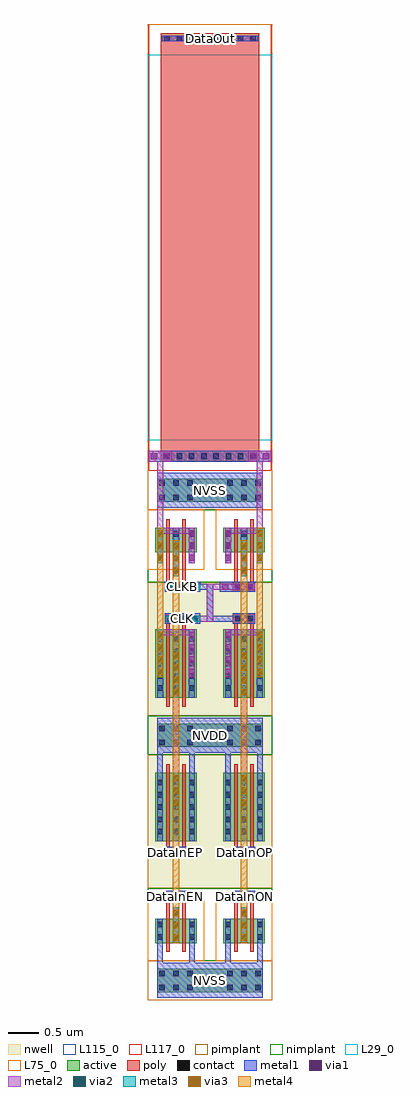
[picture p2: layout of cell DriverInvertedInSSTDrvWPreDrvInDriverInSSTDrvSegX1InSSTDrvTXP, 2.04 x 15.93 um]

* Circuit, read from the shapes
.subckt DriverInvertedInSSTDrvWPreDrvInDriverInSSTDrvSegX1InSSTDrvTXP CLK CLKB DataInEN DataInEP DataInON DataInOP DataOut NVDD NVSS
M1 n1 DataInEN NVSS NVSS nfet w=0.4u l=0.06u m=2
M2 n1 CLKB DataOut NVSS nfet w=0.4u l=0.06u m=2
M3 n2 DataInON NVSS NVSS nfet w=0.4u l=0.06u m=2
M4 n2 CLK DataOut NVSS nfet w=0.4u l=0.06u m=2
M5 n1 DataInEP NVDD NVDD pfet w=1.12u l=0.06u m=2
M6 n1 CLK DataOut NVDD pfet w=1.12u l=0.06u m=2
M7 n2 DataInOP NVDD NVDD pfet w=1.12u l=0.06u m=2
M8 n2 CLKB DataOut NVDD pfet w=1.12u l=0.06u m=2
.ends

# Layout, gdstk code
from math import pi, radians
import gdstk
lib = gdstk.Library(unit=1e-6, precision=1e-09)
def R(c, l, rs):  # rectangles x0, y0, x1, y1
    for r in rs: c.add(gdstk.rectangle(r[:2], r[2:], *l))
def A(c, l, x, y, w, h, nx, ny, dx, dy):  # array of equal rectangles
    R(c, l, [(x+i*dx, y+j*dy, x+i*dx+w, y+j*dy+h) for i in range(nx) for j in range(ny)])
nwell = (3, 0)
active = (6, 0)
poly = (17, 0)
pimplant = (25, 0)
nimplant = (26, 0)
L29_0 = (29, 0)
contact = (30, 0)
metal1 = (31, 0)
metal2 = (32, 0)
metal3 = (33, 0)
metal4 = (34, 0)
via1 = (51, 0)
via2 = (52, 0)
via3 = (53, 0)
L75_0 = (75, 0)
L115_0 = (115, 0)
L117_0 = (117, 0)

pmosinpnmossegmentleftin = lib.new_cell('PMOSInPNMOSSegmentLeftInDriverInvertedInSSTDrvWPreDrvInDriverInSSTDrvSegX1InSSTDrvTXP')
R(pmosinpnmossegmentleftin, active, [(-0.335,-0.56,0.335,0.56)])
R(pmosinpnmossegmentleftin, poly, [(-0.16,-0.7,-0.1,0.7), (0.1,-0.7,0.16,0.7)])
R(pmosinpnmossegmentleftin, pimplant, [(-0.465,-0.85,0.465,0.85)])
A(pmosinpnmossegmentleftin, contact, -0.305, -0.445, 0.09, 0.09, 3, 5, 0.26, 0.2)
A(pmosinpnmossegmentleftin, metal1, -0.305, -0.56, 0.09, 1.12, 3, 1, 0.26, 0)

nmosinpnmossegmentleftin = lib.new_cell('NMOSInPNMOSSegmentLeftInDriverInvertedInSSTDrvWPreDrvInDriverInSSTDrvSegX1InSSTDrvTXP')
R(nmosinpnmossegmentleftin, active, [(-0.335,-0.2,0.335,0.2)])
R(nmosinpnmossegmentleftin, poly, [(-0.16,-0.34,-0.1,0.34), (0.1,-0.34,0.16,0.34)])
R(nmosinpnmossegmentleftin, nimplant, [(-0.465,-0.49,0.465,0.49)])
A(nmosinpnmossegmentleftin, contact, -0.305, -0.145, 0.09, 0.09, 3, 2, 0.26, 0.2)
A(nmosinpnmossegmentleftin, metal1, -0.305, -0.2, 0.09, 0.4, 3, 1, 0.26, 0)
R(nmosinpnmossegmentleftin, L75_0, [(-0.465,-0.49,0.465,0.49)])

m1_nod_cdns_565693715657 = lib.new_cell('M1_NOD_CDNS_565693715657')
R(m1_nod_cdns_565693715657, active, [(-0.305,-0.19,0.305,0.19)])
R(m1_nod_cdns_565693715657, nimplant, [(-0.435,-0.32,0.435,0.32)])
A(m1_nod_cdns_565693715657, contact, -0.275, -0.16, 0.09, 0.09, 3, 2, 0.23, 0.23)
R(m1_nod_cdns_565693715657, metal1, [(-0.305,-0.285,0.305,0.285)])

m1_po_cdns_5656937156510 = lib.new_cell('M1_PO_CDNS_5656937156510')
R(m1_po_cdns_5656937156510, poly, [(-0.185,-0.085,0.185,0.085)])
R(m1_po_cdns_5656937156510, contact, [(-0.145,-0.045,-0.055,0.045), (0.055,-0.045,0.145,0.045)])
R(m1_po_cdns_5656937156510, metal1, [(-0.185,-0.085,0.185,0.085)])

m2_m1_cdns_565693715655 = lib.new_cell('M2_M1_CDNS_565693715655')
R(m2_m1_cdns_565693715655, metal1, [(-0.05,-0.29,0.05,0.29)])
R(m2_m1_cdns_565693715655, metal2, [(-0.05,-0.29,0.05,0.29)])
A(m2_m1_cdns_565693715655, via1, -0.05, -0.25, 0.1, 0.1, 1, 3, 0, 0.2)

m3_m2_cdns_565693715651 = lib.new_cell('M3_M2_CDNS_565693715651')
R(m3_m2_cdns_565693715651, metal2, [(-0.05,-0.29,0.05,0.29)])
R(m3_m2_cdns_565693715651, metal3, [(-0.05,-0.29,0.05,0.29)])
A(m3_m2_cdns_565693715651, via2, -0.05, -0.25, 0.1, 0.1, 1, 3, 0, 0.2)

m4_m3_cdns_565693715654 = lib.new_cell('M4_M3_CDNS_565693715654')
R(m4_m3_cdns_565693715654, metal3, [(-0.05,-0.29,0.05,0.29)])
R(m4_m3_cdns_565693715654, metal4, [(-0.05,-0.29,0.05,0.29)])
A(m4_m3_cdns_565693715654, via3, -0.05, -0.25, 0.1, 0.1, 1, 3, 0, 0.2)

m1_pod_cdns_565693715659 = lib.new_cell('M1_POD_CDNS_565693715659')
R(m1_pod_cdns_565693715659, active, [(-0.305,-0.19,0.305,0.19)])
R(m1_pod_cdns_565693715659, pimplant, [(-0.435,-0.32,0.435,0.32)])
A(m1_pod_cdns_565693715659, contact, -0.275, -0.16, 0.09, 0.09, 3, 2, 0.23, 0.23)
R(m1_pod_cdns_565693715659, metal1, [(-0.305,-0.285,0.305,0.285)])

pnmossegmentleftindriver = lib.new_cell('PNMOSSegmentLeftInDriverInvertedInSSTDrvWPreDrvInDriverInSSTDrvSegX1InSSTDrvTXP')
R(pnmossegmentleftindriver, nwell, [(-0.465,1.5,0.465,4.35)])
R(pnmossegmentleftindriver, poly, [(-0.16,1.29,0.16,1.46), (-0.16,2.01,0.16,2.18)])
R(pnmossegmentleftindriver, pimplant, [(-0.465,-0.32,0.465,0.32), (-0.465,1.5,0.465,3.68)])
R(pnmossegmentleftindriver, nimplant, [(-0.465,0.32,0.465,1.5), (-0.465,3.68,0.465,4.32)])
R(pnmossegmentleftindriver, metal1, [(-0.05,0.61,0.05,1.19), (-0.05,2.27,0.05,3.39)])
pnmossegmentleftindriver.add(gdstk.FlexPath([(-0.26,0.81),(-0.26,-0.285)], 0.09, ends="flush", simple_path=True, layer=31, datatype=0))  # metal1
pnmossegmentleftindriver.add(gdstk.FlexPath([(0.26,0.81),(0.26,-0.285)], 0.09, ends="flush", simple_path=True, layer=31, datatype=0))  # metal1
pnmossegmentleftindriver.add(gdstk.FlexPath([(-0.26,2.83),(-0.26,4.285)], 0.09, ends="flush", simple_path=True, layer=31, datatype=0))  # metal1
pnmossegmentleftindriver.add(gdstk.FlexPath([(0.26,2.83),(0.26,4.285)], 0.09, ends="flush", simple_path=True, layer=31, datatype=0))  # metal1
pnmossegmentleftindriver.add(gdstk.FlexPath([(-0.13,0.81),(-0.13,1.375)], 0.06, ends="flush", simple_path=True, layer=17, datatype=0))  # poly
pnmossegmentleftindriver.add(gdstk.FlexPath([(0.13,0.81),(0.13,1.375)], 0.06, ends="flush", simple_path=True, layer=17, datatype=0))  # poly
pnmossegmentleftindriver.add(gdstk.FlexPath([(-0.13,2.83),(-0.13,2.095)], 0.06, ends="flush", simple_path=True, layer=17, datatype=0))  # poly
pnmossegmentleftindriver.add(gdstk.FlexPath([(0.13,2.83),(0.13,2.095)], 0.06, ends="flush", simple_path=True, layer=17, datatype=0))  # poly
pnmossegmentleftindriver.add(gdstk.FlexPath([(-0.05,2.86),(0.05,2.86)], 0.1, ends="flush", simple_path=True, layer=33, datatype=0))  # metal3
pnmossegmentleftindriver.add(gdstk.FlexPath([(-0.05,1.14),(0.05,1.14)], 0.1, ends="flush", simple_path=True, layer=33, datatype=0))  # metal3
pnmossegmentleftindriver.add(gdstk.FlexPath([(0,0.81),(0,2.83)], 0.1, ends="flush", simple_path=True, layer=34, datatype=0))  # metal4
pnmossegmentleftindriver.add(gdstk.Reference(pmosinpnmossegmentleftin, (0,2.83)))
pnmossegmentleftindriver.add(gdstk.Reference(nmosinpnmossegmentleftin, (0,0.81)))
pnmossegmentleftindriver.add(gdstk.Reference(m1_nod_cdns_565693715657, (0,4)))
pnmossegmentleftindriver.add(gdstk.Reference(m1_po_cdns_5656937156510, (0,2.095)))
pnmossegmentleftindriver.add(gdstk.Reference(m1_po_cdns_5656937156510, (0,1.375)))
pnmossegmentleftindriver.add(gdstk.Reference(m2_m1_cdns_565693715655, (0,0.9)))
pnmossegmentleftindriver.add(gdstk.Reference(m2_m1_cdns_565693715655, (0,3.1)))
pnmossegmentleftindriver.add(gdstk.Reference(m3_m2_cdns_565693715651, (0,0.9)))
pnmossegmentleftindriver.add(gdstk.Reference(m3_m2_cdns_565693715651, (0,3.1)))
pnmossegmentleftindriver.add(gdstk.Reference(m4_m3_cdns_565693715654, (0,0.9)))
pnmossegmentleftindriver.add(gdstk.Reference(m4_m3_cdns_565693715654, (0,3.1)))
pnmossegmentleftindriver.add(gdstk.Reference(m1_pod_cdns_565693715659, (0,0)))

pmosinswrightinmuxindriv = lib.new_cell('PMOSInSWRightInMUXInDriverInvertedInSSTDrvWPreDrvInDriverInSSTDrvSegX1InSSTDrvTXP')
R(pmosinswrightinmuxindriv, active, [(-0.335,-0.56,0.335,0.56)])
R(pmosinswrightinmuxindriv, poly, [(-0.16,-0.7,-0.1,0.7), (0.1,-0.7,0.16,0.7)])
R(pmosinswrightinmuxindriv, pimplant, [(-0.465,-0.85,0.465,0.85)])
A(pmosinswrightinmuxindriv, contact, -0.305, -0.445, 0.09, 0.09, 3, 5, 0.26, 0.2)
A(pmosinswrightinmuxindriv, metal1, -0.305, -0.56, 0.09, 1.12, 3, 1, 0.26, 0)

nmosinswrightinmuxindriv = lib.new_cell('NMOSInSWRightInMUXInDriverInvertedInSSTDrvWPreDrvInDriverInSSTDrvSegX1InSSTDrvTXP')
R(nmosinswrightinmuxindriv, active, [(-0.335,-0.2,0.335,0.2)])
R(nmosinswrightinmuxindriv, poly, [(-0.16,-0.34,-0.1,0.34), (0.1,-0.34,0.16,0.34)])
R(nmosinswrightinmuxindriv, nimplant, [(-0.465,-0.49,0.465,0.49)])
A(nmosinswrightinmuxindriv, contact, -0.305, -0.145, 0.09, 0.09, 3, 2, 0.26, 0.2)
A(nmosinswrightinmuxindriv, metal1, -0.305, -0.2, 0.09, 0.4, 3, 1, 0.26, 0)
R(nmosinswrightinmuxindriv, L75_0, [(-0.465,-0.49,0.465,0.49)])

m3_m2_cdns_5656937156513 = lib.new_cell('M3_M2_CDNS_5656937156513')
R(m3_m2_cdns_5656937156513, metal2, [(-0.05,-0.39,0.05,0.39)])
R(m3_m2_cdns_5656937156513, metal3, [(-0.05,-0.39,0.05,0.39)])
A(m3_m2_cdns_5656937156513, via2, -0.05, -0.35, 0.1, 0.1, 1, 4, 0, 0.2)

m2_m1_cdns_565693715658 = lib.new_cell('M2_M1_CDNS_565693715658')
R(m2_m1_cdns_565693715658, metal1, [(-0.05,-0.39,0.05,0.39)])
R(m2_m1_cdns_565693715658, metal2, [(-0.05,-0.39,0.05,0.39)])
A(m2_m1_cdns_565693715658, via1, -0.05, -0.35, 0.1, 0.1, 1, 4, 0, 0.2)

m4_m3_cdns_5656937156514 = lib.new_cell('M4_M3_CDNS_5656937156514')
R(m4_m3_cdns_5656937156514, metal3, [(-0.05,-0.39,0.05,0.39)])
R(m4_m3_cdns_5656937156514, metal4, [(-0.05,-0.39,0.05,0.39)])
A(m4_m3_cdns_5656937156514, via3, -0.05, -0.35, 0.1, 0.1, 1, 4, 0, 0.2)

swrightinmuxindriverinve = lib.new_cell('SWRightInMUXInDriverInvertedInSSTDrvWPreDrvInDriverInSSTDrvSegX1InSSTDrvTXP')
R(swrightinmuxindriverinve, nwell, [(-0.465,1.5,0.465,4.35)])
R(swrightinmuxindriverinve, poly, [(-0.16,1.49,0.16,1.66), (-0.16,2.01,0.16,2.18)])
R(swrightinmuxindriverinve, pimplant, [(-0.465,-0.32,0.465,0.32), (-0.465,1.5,0.465,3.68)])
R(swrightinmuxindriverinve, nimplant, [(-0.465,0.32,0.465,1.5), (-0.465,3.68,0.465,4.32)])
A(swrightinmuxindriverinve, metal1, -0.31, 2.27, 0.1, 1.12, 3, 1, 0.26, 0)
R(swrightinmuxindriverinve, metal1, [(-0.31,0.61,-0.21,1.19), (-0.05,0.61,0.05,1.4), (0.21,0.61,0.31,1.19)])
swrightinmuxindriverinve.add(gdstk.FlexPath([(-0.13,0.81),(-0.13,1.575)], 0.06, ends="flush", simple_path=True, layer=17, datatype=0))  # poly
swrightinmuxindriverinve.add(gdstk.FlexPath([(0.13,0.81),(0.13,1.575)], 0.06, ends="flush", simple_path=True, layer=17, datatype=0))  # poly
swrightinmuxindriverinve.add(gdstk.FlexPath([(-0.13,2.83),(-0.13,2.095)], 0.06, ends="flush", simple_path=True, layer=17, datatype=0))  # poly
swrightinmuxindriverinve.add(gdstk.FlexPath([(0.13,2.83),(0.13,2.095)], 0.06, ends="flush", simple_path=True, layer=17, datatype=0))  # poly
swrightinmuxindriverinve.add(gdstk.FlexPath([(-0.26,2.32),(0.26,2.32)], 0.1, ends="flush", simple_path=True, layer=32, datatype=0))  # metal2
swrightinmuxindriverinve.add(gdstk.FlexPath([(-0.26,0.66),(0.26,0.66)], 0.1, ends="flush", simple_path=True, layer=32, datatype=0))  # metal2
swrightinmuxindriverinve.add(gdstk.FlexPath([(-0.26,0.9),(-0.26,2.66)], 0.1, ends="flush", simple_path=True, layer=34, datatype=0))  # metal4
swrightinmuxindriverinve.add(gdstk.FlexPath([(0,1.11),(0,3)], 0.1, ends="flush", simple_path=True, layer=34, datatype=0))  # metal4
swrightinmuxindriverinve.add(gdstk.Reference(pmosinswrightinmuxindriv, (0,2.83)))
swrightinmuxindriverinve.add(gdstk.Reference(nmosinswrightinmuxindriv, (0,0.81)))
swrightinmuxindriverinve.add(gdstk.Reference(m1_po_cdns_5656937156510, (0,2.095)))
swrightinmuxindriverinve.add(gdstk.Reference(m1_po_cdns_5656937156510, (0,1.575)))
swrightinmuxindriverinve.add(gdstk.Reference(m2_m1_cdns_565693715655, (0,1.11)))
swrightinmuxindriverinve.add(gdstk.Reference(m2_m1_cdns_565693715655, (-0.26,0.9)))
swrightinmuxindriverinve.add(gdstk.Reference(m2_m1_cdns_565693715655, (0.26,0.9)))
swrightinmuxindriverinve.add(gdstk.Reference(m3_m2_cdns_565693715651, (-0.26,0.9)))
swrightinmuxindriverinve.add(gdstk.Reference(m3_m2_cdns_565693715651, (0,1.11)))
swrightinmuxindriverinve.add(gdstk.Reference(m3_m2_cdns_5656937156513, (-0.26,2.66)))
swrightinmuxindriverinve.add(gdstk.Reference(m3_m2_cdns_5656937156513, (0,3)))
swrightinmuxindriverinve.add(gdstk.Reference(m2_m1_cdns_565693715658, (-0.26,2.66)))
swrightinmuxindriverinve.add(gdstk.Reference(m2_m1_cdns_565693715658, (0.26,2.66)))
swrightinmuxindriverinve.add(gdstk.Reference(m2_m1_cdns_565693715658, (0,3)))
swrightinmuxindriverinve.add(gdstk.Reference(m4_m3_cdns_565693715654, (-0.26,0.9)))
swrightinmuxindriverinve.add(gdstk.Reference(m4_m3_cdns_565693715654, (0,1.11)))
swrightinmuxindriverinve.add(gdstk.Reference(m4_m3_cdns_5656937156514, (-0.26,2.66)))
swrightinmuxindriverinve.add(gdstk.Reference(m4_m3_cdns_5656937156514, (0,3)))
swrightinmuxindriverinve.add(gdstk.Reference(m1_pod_cdns_565693715659, (0,0)))

pmosinswleftinmuxindrive = lib.new_cell('PMOSInSWLeftInMUXInDriverInvertedInSSTDrvWPreDrvInDriverInSSTDrvSegX1InSSTDrvTXP')
R(pmosinswleftinmuxindrive, active, [(-0.335,-0.56,0.335,0.56)])
R(pmosinswleftinmuxindrive, poly, [(-0.16,-0.7,-0.1,0.7), (0.1,-0.7,0.16,0.7)])
R(pmosinswleftinmuxindrive, pimplant, [(-0.465,-0.85,0.465,0.85)])
A(pmosinswleftinmuxindrive, contact, -0.305, -0.445, 0.09, 0.09, 3, 5, 0.26, 0.2)
A(pmosinswleftinmuxindrive, metal1, -0.305, -0.56, 0.09, 1.12, 3, 1, 0.26, 0)

nmosinswleftinmuxindrive = lib.new_cell('NMOSInSWLeftInMUXInDriverInvertedInSSTDrvWPreDrvInDriverInSSTDrvSegX1InSSTDrvTXP')
R(nmosinswleftinmuxindrive, active, [(-0.335,-0.2,0.335,0.2)])
R(nmosinswleftinmuxindrive, poly, [(-0.16,-0.34,-0.1,0.34), (0.1,-0.34,0.16,0.34)])
R(nmosinswleftinmuxindrive, nimplant, [(-0.465,-0.49,0.465,0.49)])
A(nmosinswleftinmuxindrive, contact, -0.305, -0.145, 0.09, 0.09, 3, 2, 0.26, 0.2)
A(nmosinswleftinmuxindrive, metal1, -0.305, -0.2, 0.09, 0.4, 3, 1, 0.26, 0)
R(nmosinswleftinmuxindrive, L75_0, [(-0.465,-0.49,0.465,0.49)])

swleftinmuxindriverinver = lib.new_cell('SWLeftInMUXInDriverInvertedInSSTDrvWPreDrvInDriverInSSTDrvSegX1InSSTDrvTXP')
R(swleftinmuxindriverinver, nwell, [(-0.465,1.5,0.465,4.35)])
R(swleftinmuxindriverinver, poly, [(-0.16,1.49,0.16,1.66), (-0.16,2.01,0.16,2.18)])
R(swleftinmuxindriverinver, pimplant, [(-0.465,-0.32,0.465,0.32), (-0.465,1.5,0.465,3.68)])
R(swleftinmuxindriverinver, nimplant, [(-0.465,0.32,0.465,1.5), (-0.465,3.68,0.465,4.32)])
A(swleftinmuxindriverinver, metal1, -0.31, 2.27, 0.1, 1.12, 3, 1, 0.26, 0)
R(swleftinmuxindriverinver, metal1, [(-0.31,0.61,-0.21,1.19), (-0.05,0.61,0.05,1.4), (0.21,0.61,0.31,1.19)])
swleftinmuxindriverinver.add(gdstk.FlexPath([(-0.13,0.81),(-0.13,1.575)], 0.06, ends="flush", simple_path=True, layer=17, datatype=0))  # poly
swleftinmuxindriverinver.add(gdstk.FlexPath([(0.13,0.81),(0.13,1.575)], 0.06, ends="flush", simple_path=True, layer=17, datatype=0))  # poly
swleftinmuxindriverinver.add(gdstk.FlexPath([(-0.13,2.83),(-0.13,2.095)], 0.06, ends="flush", simple_path=True, layer=17, datatype=0))  # poly
swleftinmuxindriverinver.add(gdstk.FlexPath([(0.13,2.83),(0.13,2.095)], 0.06, ends="flush", simple_path=True, layer=17, datatype=0))  # poly
swleftinmuxindriverinver.add(gdstk.FlexPath([(-0.26,2.32),(0.26,2.32)], 0.1, ends="flush", simple_path=True, layer=32, datatype=0))  # metal2
swleftinmuxindriverinver.add(gdstk.FlexPath([(-0.26,0.66),(0.26,0.66)], 0.1, ends="flush", simple_path=True, layer=32, datatype=0))  # metal2
swleftinmuxindriverinver.add(gdstk.FlexPath([(-0.26,0.9),(-0.26,2.66)], 0.1, ends="flush", simple_path=True, layer=34, datatype=0))  # metal4
swleftinmuxindriverinver.add(gdstk.FlexPath([(0,1.11),(0,3)], 0.1, ends="flush", simple_path=True, layer=34, datatype=0))  # metal4
swleftinmuxindriverinver.add(gdstk.Reference(pmosinswleftinmuxindrive, (0,2.83)))
swleftinmuxindriverinver.add(gdstk.Reference(nmosinswleftinmuxindrive, (0,0.81)))
swleftinmuxindriverinver.add(gdstk.Reference(m1_po_cdns_5656937156510, (0,2.095)))
swleftinmuxindriverinver.add(gdstk.Reference(m1_po_cdns_5656937156510, (0,1.575)))
swleftinmuxindriverinver.add(gdstk.Reference(m2_m1_cdns_565693715655, (0,1.11)))
swleftinmuxindriverinver.add(gdstk.Reference(m2_m1_cdns_565693715655, (-0.26,0.9)))
swleftinmuxindriverinver.add(gdstk.Reference(m2_m1_cdns_565693715655, (0.26,0.9)))
swleftinmuxindriverinver.add(gdstk.Reference(m3_m2_cdns_565693715651, (-0.26,0.9)))
swleftinmuxindriverinver.add(gdstk.Reference(m3_m2_cdns_565693715651, (0,1.11)))
swleftinmuxindriverinver.add(gdstk.Reference(m3_m2_cdns_5656937156513, (-0.26,2.66)))
swleftinmuxindriverinver.add(gdstk.Reference(m3_m2_cdns_5656937156513, (0,3)))
swleftinmuxindriverinver.add(gdstk.Reference(m2_m1_cdns_565693715658, (-0.26,2.66)))
swleftinmuxindriverinver.add(gdstk.Reference(m2_m1_cdns_565693715658, (0.26,2.66)))
swleftinmuxindriverinver.add(gdstk.Reference(m2_m1_cdns_565693715658, (0,3)))
swleftinmuxindriverinver.add(gdstk.Reference(m4_m3_cdns_565693715654, (-0.26,0.9)))
swleftinmuxindriverinver.add(gdstk.Reference(m4_m3_cdns_565693715654, (0,1.11)))
swleftinmuxindriverinver.add(gdstk.Reference(m4_m3_cdns_5656937156514, (-0.26,2.66)))
swleftinmuxindriverinver.add(gdstk.Reference(m4_m3_cdns_5656937156514, (0,3)))
swleftinmuxindriverinver.add(gdstk.Reference(m1_pod_cdns_565693715659, (0,0)))

m2_m1_cdns_5656937156511 = lib.new_cell('M2_M1_CDNS_5656937156511')
R(m2_m1_cdns_5656937156511, metal1, [(-0.29,-0.05,0.29,0.05)])
R(m2_m1_cdns_5656937156511, metal2, [(-0.29,-0.05,0.29,0.05)])
A(m2_m1_cdns_5656937156511, via1, -0.25, -0.05, 0.1, 0.1, 3, 1, 0.2, 0)

m3_m2_cdns_5656937156512 = lib.new_cell('M3_M2_CDNS_5656937156512')
R(m3_m2_cdns_5656937156512, metal2, [(-0.29,-0.05,0.29,0.05)])
R(m3_m2_cdns_5656937156512, metal3, [(-0.29,-0.05,0.29,0.05)])
A(m3_m2_cdns_5656937156512, via2, -0.25, -0.05, 0.1, 0.1, 3, 1, 0.2, 0)

muxindriverinvertedinsst = lib.new_cell('MUXInDriverInvertedInSSTDrvWPreDrvInDriverInSSTDrvSegX1InSSTDrvTXP')
R(muxindriverinvertedinsst, nwell, [(-0.465,-0.35,1.575,2.5)])
R(muxindriverinvertedinsst, active, [(-0.305,-0.19,1.415,0.19), (-0.305,3.81,1.415,4.19)])
R(muxindriverinvertedinsst, pimplant, [(-0.465,0.32,1.575,2.5), (-0.465,3.68,1.575,4.32)])
R(muxindriverinvertedinsst, nimplant, [(-0.465,-0.32,1.575,0.32), (-0.465,2.5,1.575,3.68)])
R(muxindriverinvertedinsst, metal1, [(-0.305,-0.285,1.415,0.285), (-0.185,1.82,0.395,1.99), (-0.185,2.34,0.395,2.51), (0.715,2.34,1.295,2.51), (-0.305,3.715,1.415,4.285)])
R(muxindriverinvertedinsst, metal2, [(-0.185,2.385,0.395,2.475)])
muxindriverinvertedinsst.add(gdstk.FlexPath([(1.005,2.425),(0.555,2.425),(0.555,1.905),(0.105,1.905)], 0.1, ends="flush", simple_path=True, layer=32, datatype=0))  # metal2
muxindriverinvertedinsst.add(gdstk.FlexPath([(0.105,2.425),(0.555,2.425),(0.555,1.905),(1.11,1.905)], 0.1, ends="flush", simple_path=True, layer=31, datatype=0))  # metal1
muxindriverinvertedinsst.add(gdstk.Reference(swrightinmuxindriverinve, (1.11,4), rotation=pi))
muxindriverinvertedinsst.add(gdstk.Reference(swleftinmuxindriverinver, (0,4), x_reflection=True))
muxindriverinvertedinsst.add(gdstk.Reference(m2_m1_cdns_5656937156511, (1.005,2.425)))
muxindriverinvertedinsst.add(gdstk.Reference(m2_m1_cdns_5656937156511, (0.105,1.905)))
muxindriverinvertedinsst.add(gdstk.Reference(m2_m1_cdns_5656937156511, (0.105,2.425)))
muxindriverinvertedinsst.add(gdstk.Reference(m3_m2_cdns_5656937156512, (0.105,2.425)))
muxindriverinvertedinsst.add(gdstk.Reference(m3_m2_cdns_5656937156512, (0.105,1.905)))

rppolyressegmentinrppoly = lib.new_cell('RPPolyResSegmentInRPPolyResInDriverInvertedInSSTDrvWPreDrvInDriverInSSTDrvSegX1InSSTDrvTXP')
R(rppolyressegmentinrppoly, poly, [(0,0,6.99,1.6)])
R(rppolyressegmentinrppoly, pimplant, [(-0.15,-0.2,7.14,1.8)])
R(rppolyressegmentinrppoly, L29_0, [(0.35,-0.22,6.64,1.82)])
A(rppolyressegmentinrppoly, contact, 0.04, 0.055, 0.09, 0.09, 1, 8, 0, 0.2)
A(rppolyressegmentinrppoly, contact, 6.86, 0.055, 0.09, 0.09, 1, 8, 0, 0.2)
R(rppolyressegmentinrppoly, metal1, [(0.04,0.015,0.13,1.585), (6.86,0.015,6.95,1.585)])
R(rppolyressegmentinrppoly, L115_0, [(0.35,0,6.64,1.6)])
R(rppolyressegmentinrppoly, L117_0, [(-0.15,-0.2,7.14,1.8)])

rppolyresindriverinverte = lib.new_cell('RPPolyResInDriverInvertedInSSTDrvWPreDrvInDriverInSSTDrvSegX1InSSTDrvTXP')
R(rppolyresindriverinverte, pimplant, [(-0.15,-0.2,7.14,1.8)])
R(rppolyresindriverinverte, L29_0, [(0.35,-0.22,6.64,1.82)])
R(rppolyresindriverinverte, L117_0, [(-0.15,-0.2,7.14,1.8)])
rppolyresindriverinverte.add(gdstk.Reference(rppolyressegmentinrppoly, (0,0)))

pmosinpnmossegmentrighti = lib.new_cell('PMOSInPNMOSSegmentRightInDriverInvertedInSSTDrvWPreDrvInDriverInSSTDrvSegX1InSSTDrvTXP')
R(pmosinpnmossegmentrighti, active, [(-0.335,-0.56,0.335,0.56)])
R(pmosinpnmossegmentrighti, poly, [(-0.16,-0.7,-0.1,0.7), (0.1,-0.7,0.16,0.7)])
R(pmosinpnmossegmentrighti, pimplant, [(-0.465,-0.85,0.465,0.85)])
A(pmosinpnmossegmentrighti, contact, -0.305, -0.445, 0.09, 0.09, 3, 5, 0.26, 0.2)
A(pmosinpnmossegmentrighti, metal1, -0.305, -0.56, 0.09, 1.12, 3, 1, 0.26, 0)

nmosinpnmossegmentrighti = lib.new_cell('NMOSInPNMOSSegmentRightInDriverInvertedInSSTDrvWPreDrvInDriverInSSTDrvSegX1InSSTDrvTXP')
R(nmosinpnmossegmentrighti, active, [(-0.335,-0.2,0.335,0.2)])
R(nmosinpnmossegmentrighti, poly, [(-0.16,-0.34,-0.1,0.34), (0.1,-0.34,0.16,0.34)])
R(nmosinpnmossegmentrighti, nimplant, [(-0.465,-0.49,0.465,0.49)])
A(nmosinpnmossegmentrighti, contact, -0.305, -0.145, 0.09, 0.09, 3, 2, 0.26, 0.2)
A(nmosinpnmossegmentrighti, metal1, -0.305, -0.2, 0.09, 0.4, 3, 1, 0.26, 0)
R(nmosinpnmossegmentrighti, L75_0, [(-0.465,-0.49,0.465,0.49)])

pnmossegmentrightindrive = lib.new_cell('PNMOSSegmentRightInDriverInvertedInSSTDrvWPreDrvInDriverInSSTDrvSegX1InSSTDrvTXP')
R(pnmossegmentrightindrive, nwell, [(-0.465,1.5,0.465,4.35)])
R(pnmossegmentrightindrive, poly, [(-0.16,1.29,0.16,1.46), (-0.16,2.01,0.16,2.18)])
R(pnmossegmentrightindrive, pimplant, [(-0.465,-0.32,0.465,0.32), (-0.465,1.5,0.465,3.68)])
R(pnmossegmentrightindrive, nimplant, [(-0.465,0.32,0.465,1.5), (-0.465,3.68,0.465,4.32)])
R(pnmossegmentrightindrive, metal1, [(-0.05,0.61,0.05,1.19), (-0.05,2.27,0.05,3.39)])
pnmossegmentrightindrive.add(gdstk.FlexPath([(-0.26,0.81),(-0.26,-0.285)], 0.09, ends="flush", simple_path=True, layer=31, datatype=0))  # metal1
pnmossegmentrightindrive.add(gdstk.FlexPath([(0.26,0.81),(0.26,-0.285)], 0.09, ends="flush", simple_path=True, layer=31, datatype=0))  # metal1
pnmossegmentrightindrive.add(gdstk.FlexPath([(-0.26,2.83),(-0.26,4.285)], 0.09, ends="flush", simple_path=True, layer=31, datatype=0))  # metal1
pnmossegmentrightindrive.add(gdstk.FlexPath([(0.26,2.83),(0.26,4.285)], 0.09, ends="flush", simple_path=True, layer=31, datatype=0))  # metal1
pnmossegmentrightindrive.add(gdstk.FlexPath([(-0.13,0.81),(-0.13,1.375)], 0.06, ends="flush", simple_path=True, layer=17, datatype=0))  # poly
pnmossegmentrightindrive.add(gdstk.FlexPath([(0.13,0.81),(0.13,1.375)], 0.06, ends="flush", simple_path=True, layer=17, datatype=0))  # poly
pnmossegmentrightindrive.add(gdstk.FlexPath([(-0.13,2.83),(-0.13,2.095)], 0.06, ends="flush", simple_path=True, layer=17, datatype=0))  # poly
pnmossegmentrightindrive.add(gdstk.FlexPath([(0.13,2.83),(0.13,2.095)], 0.06, ends="flush", simple_path=True, layer=17, datatype=0))  # poly
pnmossegmentrightindrive.add(gdstk.FlexPath([(-0.05,2.86),(0.05,2.86)], 0.1, ends="flush", simple_path=True, layer=33, datatype=0))  # metal3
pnmossegmentrightindrive.add(gdstk.FlexPath([(-0.05,1.14),(0.05,1.14)], 0.1, ends="flush", simple_path=True, layer=33, datatype=0))  # metal3
pnmossegmentrightindrive.add(gdstk.FlexPath([(0,0.81),(0,2.83)], 0.1, ends="flush", simple_path=True, layer=34, datatype=0))  # metal4
pnmossegmentrightindrive.add(gdstk.Reference(pmosinpnmossegmentrighti, (0,2.83)))
pnmossegmentrightindrive.add(gdstk.Reference(nmosinpnmossegmentrighti, (0,0.81)))
pnmossegmentrightindrive.add(gdstk.Reference(m1_nod_cdns_565693715657, (0,4)))
pnmossegmentrightindrive.add(gdstk.Reference(m1_po_cdns_5656937156510, (0,2.095)))
pnmossegmentrightindrive.add(gdstk.Reference(m1_po_cdns_5656937156510, (0,1.375)))
pnmossegmentrightindrive.add(gdstk.Reference(m2_m1_cdns_565693715655, (0,0.9)))
pnmossegmentrightindrive.add(gdstk.Reference(m2_m1_cdns_565693715655, (0,3.1)))
pnmossegmentrightindrive.add(gdstk.Reference(m3_m2_cdns_565693715651, (0,0.9)))
pnmossegmentrightindrive.add(gdstk.Reference(m3_m2_cdns_565693715651, (0,3.1)))
pnmossegmentrightindrive.add(gdstk.Reference(m4_m3_cdns_565693715654, (0,0.9)))
pnmossegmentrightindrive.add(gdstk.Reference(m4_m3_cdns_565693715654, (0,3.1)))
pnmossegmentrightindrive.add(gdstk.Reference(m1_pod_cdns_565693715659, (0,0)))

m2_m1_cdns_565693715653 = lib.new_cell('M2_M1_CDNS_565693715653')
R(m2_m1_cdns_565693715653, metal1, [(-0.19,-0.09,0.19,0.09)])
R(m2_m1_cdns_565693715653, metal2, [(-0.19,-0.09,0.19,0.09)])
R(m2_m1_cdns_565693715653, via1, [(-0.15,-0.05,-0.05,0.05), (0.05,-0.05,0.15,0.05)])

driverinvertedinsstdrvwp = lib.new_cell('DriverInvertedInSSTDrvWPreDrvInDriverInSSTDrvSegX1InSSTDrvTXP')
R(driverinvertedinsstdrvwp, nwell, [(-0.465,1.5,1.575,6.5)])
R(driverinvertedinsstdrvwp, active, [(-0.305,-0.19,1.415,0.19), (-0.305,3.81,1.415,4.19)])
R(driverinvertedinsstdrvwp, pimplant, [(-0.465,-0.32,1.575,0.32), (-0.465,1.5,1.575,3.68), (-0.465,7.68,1.575,15.61)])
R(driverinvertedinsstdrvwp, nimplant, [(-0.465,0.32,1.575,1.5), (-0.465,3.68,1.575,4.32)])
R(driverinvertedinsstdrvwp, metal1, [(-0.305,-0.285,1.415,0.285), (-0.305,3.715,1.415,4.285), (-0.23,8.465,1.34,8.645), (-0.23,15.33,1.34,15.42)])
driverinvertedinsstdrvwp.add(gdstk.FlexPath([(1.11,4.61),(1.11,2.81)], 0.1, ends="flush", simple_path=True, layer=34, datatype=0))  # metal4
driverinvertedinsstdrvwp.add(gdstk.FlexPath([(0,4.61),(0,2.81)], 0.1, ends="flush", simple_path=True, layer=34, datatype=0))  # metal4
driverinvertedinsstdrvwp.add(gdstk.FlexPath([(0,4.61),(0,2.81)], 0.1, ends="flush", simple_path=True, layer=32, datatype=0))  # metal2
driverinvertedinsstdrvwp.add(gdstk.FlexPath([(-0.26,7.39),(-0.26,8.645)], 0.1, ends="flush", simple_path=True, layer=32, datatype=0))  # metal2
driverinvertedinsstdrvwp.add(gdstk.FlexPath([(1.37,7.39),(1.37,8.645)], 0.1, ends="flush", simple_path=True, layer=32, datatype=0))  # metal2
driverinvertedinsstdrvwp.add(gdstk.FlexPath([(1.11,4.61),(1.11,2.81)], 0.1, ends="flush", simple_path=True, layer=32, datatype=0))  # metal2
driverinvertedinsstdrvwp.add(gdstk.Reference(pnmossegmentleftindriver, (0,0)))
driverinvertedinsstdrvwp.add(gdstk.Reference(muxindriverinvertedinsst, (0,4)))
driverinvertedinsstdrvwp.add(gdstk.Reference(rppolyresindriverinverte, (1.355,8.47), rotation=pi/2))
driverinvertedinsstdrvwp.add(gdstk.Reference(pnmossegmentrightindrive, (1.11,0), rotation=pi, x_reflection=True))
driverinvertedinsstdrvwp.add(gdstk.Reference(m2_m1_cdns_565693715653, (-0.26,8.555)))
driverinvertedinsstdrvwp.add(gdstk.Reference(m2_m1_cdns_565693715653, (1.37,8.555)))
driverinvertedinsstdrvwp.add(gdstk.Label('NVDD', (0.555,4), layer=131, texttype=0))
driverinvertedinsstdrvwp.add(gdstk.Label('DataOut', (0.555,15.375), layer=131, texttype=0))
driverinvertedinsstdrvwp.add(gdstk.Label('DataInOP', (1.11,2.095), layer=131, texttype=0))
driverinvertedinsstdrvwp.add(gdstk.Label('CLK', (0.105,5.905), layer=131, texttype=0))
driverinvertedinsstdrvwp.add(gdstk.Label('DataInEN', (0,1.375), layer=131, texttype=0))
driverinvertedinsstdrvwp.add(gdstk.Label('CLKB', (0.105,6.425), layer=131, texttype=0))
driverinvertedinsstdrvwp.add(gdstk.Label('NVSS', (0.555,0), layer=131, texttype=0))
driverinvertedinsstdrvwp.add(gdstk.Label('NVSS', (0.555,8), layer=131, texttype=0))
driverinvertedinsstdrvwp.add(gdstk.Label('DataInEP', (0,2.095), layer=131, texttype=0))
driverinvertedinsstdrvwp.add(gdstk.Label('DataInON', (1.11,1.375), layer=131, texttype=0))

lib.write_gds('DriverInvertedInSSTDrvWPreDrvInDriverInSSTDrvSegX1InSSTDrvTXP.gds')
